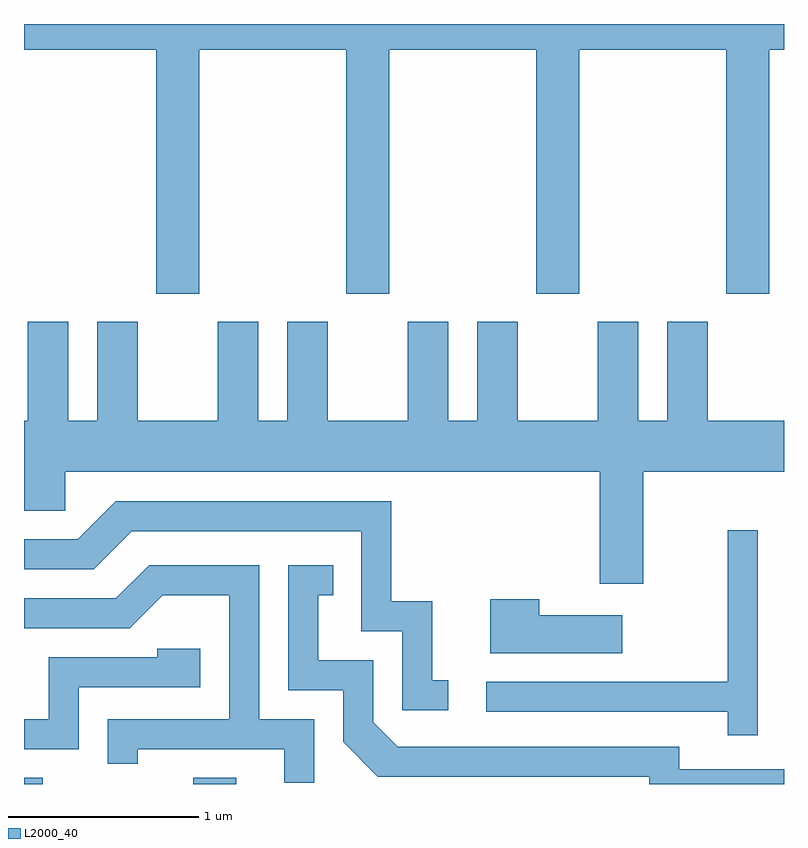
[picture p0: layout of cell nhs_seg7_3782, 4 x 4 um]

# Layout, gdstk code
import gdstk
lib = gdstk.Library(unit=1e-6, precision=1e-09)
def R(c, l, rs):  # rectangles x0, y0, x1, y1
    for r in rs: c.add(gdstk.rectangle(r[:2], r[2:], *l))
def P(c, l, *ps):  # polygons
    for p in ps: c.add(gdstk.Polygon(p, *l))
L2000_40 = (2000, 40)

nhs_seg7_3782 = lib.new_cell('nhs_seg7_3782')
R(nhs_seg7_3782, L2000_40, [(301.611,1688.252,301.709,1688.284), (302.501,1688.252,302.729,1688.284)])
P(nhs_seg7_3782, L2000_40, [(302.534,1692.116),(303.306,1692.116),(303.306,1690.831),(303.534,1690.831),(303.534,1692.116),(304.306,1692.116),(304.306,1690.831),(304.534,1690.831),(304.534,1692.116),(305.306,1692.116),(305.306,1690.831),(305.534,1690.831),(305.534,1692.116),(305.611,1692.116),(305.611,1692.252),(301.611,1692.252),(301.611,1692.116),(302.306,1692.116),(302.306,1690.831),(302.534,1690.831)],
  [(304.869,1689.896),(305.611,1689.896),(305.611,1690.164),(305.209,1690.164),(305.209,1690.684),(304.996,1690.684),(304.996,1690.164),(304.844,1690.164),(304.844,1690.684),(304.631,1690.684),(304.631,1690.164),(304.209,1690.164),(304.209,1690.684),(303.996,1690.684),(303.996,1690.164),(303.844,1690.164),(303.844,1690.684),(303.631,1690.684),(303.631,1690.164),(303.209,1690.164),(303.209,1690.684),(302.996,1690.684),(302.996,1690.164),(302.844,1690.164),(302.844,1690.684),(302.631,1690.684),(302.631,1690.164),(302.209,1690.164),(302.209,1690.684),(301.996,1690.684),(301.996,1690.164),(301.844,1690.164),(301.844,1690.684),(301.631,1690.684),(301.631,1690.164),(301.611,1690.164),(301.611,1689.691),(301.829,1689.691),(301.829,1689.896),(304.641,1689.896),(304.641,1689.306),(304.869,1689.306)],
  [(303.843,1688.799),(303.759,1688.799),(303.759,1689.214),(303.544,1689.214),(303.544,1689.739),(302.094,1689.739),(301.894,1689.539),(301.611,1689.539),(301.611,1689.381),(301.977,1689.381),(302.177,1689.581),(303.386,1689.581),(303.386,1689.056),(303.601,1689.056),(303.601,1688.641),(303.843,1688.641)],
  [(305.474,1689.588),(305.316,1689.588),(305.316,1688.789),(304.043,1688.789),(304.043,1688.631),(305.316,1688.631),(305.316,1688.508),(305.474,1688.508)],
  [(305.611,1688.329),(305.059,1688.329),(305.059,1688.449),(303.577,1688.449),(303.449,1688.577),(303.449,1688.904),(303.159,1688.904),(303.159,1689.246),(303.238,1689.246),(303.238,1689.404),(303.001,1689.404),(303.001,1688.746),(303.291,1688.746),(303.291,1688.474),(303.474,1688.291),(304.901,1688.291),(304.901,1688.252),(305.611,1688.252)],
  [(303.139,1688.594),(302.849,1688.594),(302.849,1689.404),(302.269,1689.404),(302.094,1689.229),(301.611,1689.229),(301.611,1689.071),(302.167,1689.071),(302.342,1689.246),(302.691,1689.246),(302.691,1688.594),(302.051,1688.594),(302.051,1688.358),(302.209,1688.358),(302.209,1688.436),(302.981,1688.436),(302.981,1688.258),(303.139,1688.258)],
  [(304.759,1689.139),(304.324,1689.139),(304.324,1689.224),(304.066,1689.224),(304.066,1688.941),(304.759,1688.941)],
  [(301.899,1688.761),(302.539,1688.761),(302.539,1688.964),(302.311,1688.964),(302.311,1688.919),(301.741,1688.919),(301.741,1688.594),(301.611,1688.594),(301.611,1688.436),(301.899,1688.436)])

lib.write_gds('nhs_seg7_3782.gds')
